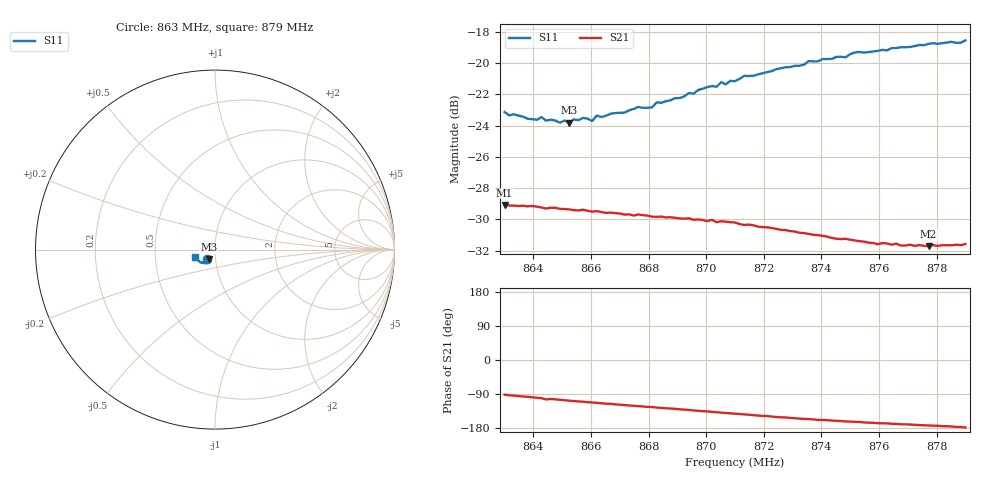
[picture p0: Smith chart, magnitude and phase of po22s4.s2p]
# HZ S RI R 50
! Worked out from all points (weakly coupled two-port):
!   101 points, 863 MHz to 879 MHz, reference 50 ohm
!   highest |S21| = -29.07 dB at 863 MHz (marker M1); lowest = -31.7 dB at 877.72 MHz (marker M2)
!   lowest |S11| = -23.8 dB at 865.24 MHz (marker M3), VSWR 1.14, Z = 46.4 - j5.03 ohm
!   |S11| at or under -10 dB: start of sweep to end of sweep
!   S12 and S22 are empty: the file has one direction only
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8.63e8  -0.0446 -0.0536  -0.000877 -0.0352  0 0  0 0
8.638e8  -0.0401 -0.0529  -0.00427 -0.0346  0 0  0 0
8.6428e8  -0.0389 -0.0547  -0.00641 -0.0339  0 0  0 0
8.6444e8  -0.0377 -0.0535  -0.00829 -0.0332  0 0  0 0
8.6524e8  -0.035 -0.0541  -0.0102 -0.0325  0 0  0 0
8.6572e8  -0.0344 -0.0572  -0.0116 -0.0319  0 0  0 0
8.6604e8  -0.0331 -0.0562  -0.0126 -0.031  0 0  0 0
8.662e8  -0.035 -0.0581  -0.0131 -0.031  0 0  0 0
8.6716e8  -0.0334 -0.0608  -0.0159 -0.0287  0 0  0 0
8.6764e8  -0.0354 -0.0631  -0.0173 -0.0279  0 0  0 0
8.6812e8  -0.0337 -0.0638  -0.0181 -0.0267  0 0  0 0
8.6828e8  -0.0359 -0.0656  -0.0187 -0.0262  0 0  0 0
8.6844e8  -0.0354 -0.0657  -0.0192 -0.026  0 0  0 0
8.7036e8  -0.0426 -0.0724  -0.023 -0.0208  0 0  0 0
8.7052e8  -0.0456 -0.0738  -0.0235 -0.0205  0 0  0 0
8.7068e8  -0.0447 -0.0728  -0.0238 -0.0201  0 0  0 0
8.71e8  -0.0468 -0.0738  -0.0243 -0.0192  0 0  0 0
8.7132e8  -0.0509 -0.0754  -0.0244 -0.018  0 0  0 0
8.7372e8  -0.0682 -0.0747  -0.026 -0.0112  0 0  0 0
8.7644e8  -0.0924 -0.0624  -0.0257 -0.00532  0 0  0 0
8.7772e8  -0.1025 -0.0524  -0.0258 -0.00324  0 0  0 0
8.79e8  -0.111 -0.0399  -0.0264 -0.000903  0 0  0 0
